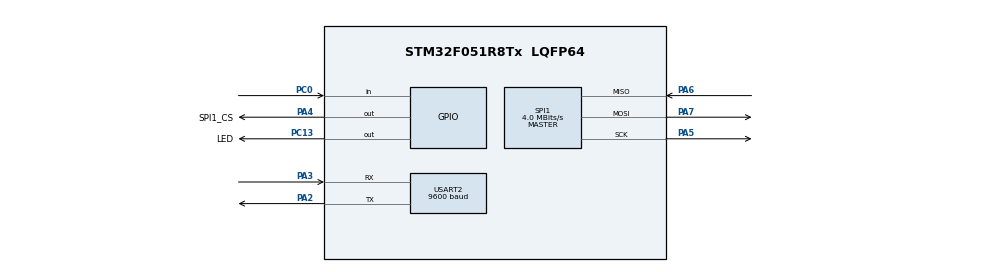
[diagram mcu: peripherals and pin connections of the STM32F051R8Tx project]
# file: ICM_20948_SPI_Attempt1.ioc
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Mcu.Family=STM32F0
Mcu.Name=STM32F051R8Tx
Mcu.Package=LQFP64
PA2.Mode=Asynchronous
PA2.Signal=USART2_TX
PA3.Mode=Asynchronous
PA3.Signal=USART2_RX
PA4.GPIO_Label=SPI1_CS
PA4.GPIO_Speed=GPIO_SPEED_FREQ_HIGH
PA4.PinState=GPIO_PIN_SET
PA4.Signal=GPIO_Output
PA5.Mode=Full_Duplex_Master
PA5.Signal=SPI1_SCK
PA6.GPIO_Mode=GPIO_MODE_AF_PP
PA6.Mode=Full_Duplex_Master
PA6.Signal=SPI1_MISO
PA7.Mode=Full_Duplex_Master
PA7.Signal=SPI1_MOSI
PC0.Signal=GPIO_Input
PC13.GPIO_Label=LED
PC13.PinState=GPIO_PIN_SET
PC13.Signal=GPIO_Output
ProjectManager.HeapSize=0x200
ProjectManager.StackSize=0x400
ProjectManager.TargetToolchain=STM32CubeIDE
SPI1.BaudRatePrescaler=SPI_BAUDRATEPRESCALER_2
SPI1.CLKPhase=SPI_PHASE_2EDGE
SPI1.CLKPolarity=SPI_POLARITY_HIGH
SPI1.CalculateBaudRate=4.0 MBits/s
SPI1.DataSize=SPI_DATASIZE_8BIT
SPI1.Direction=SPI_DIRECTION_2LINES
SPI1.Mode=SPI_MODE_MASTER
SPI1.VirtualType=VM_MASTER
USART2.BaudRate=9600
USART2.VirtualMode-Asynchronous=VM_ASYNC
board=custom

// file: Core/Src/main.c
/* USER CODE BEGIN Header */
/**
  ******************************************************************************
  * @file           : main.c
  * @brief          : Main program body
  ******************************************************************************
  * @attention
  *
  * <h2><center>&copy; Copyright (c) 2021 STMicroelectronics.
  * All rights reserved.</center></h2>
  *
  * This software component is licensed by ST under BSD 3-Clause license,
  * the "License"; You may not use this file except in compliance with the
  * License. You may obtain a copy of the License at:
  *                        opensource.org/licenses/BSD-3-Clause
  *
  ******************************************************************************
**/
/* USER CODE END Header */
#include "main.h"
#include "spi.h"
#include "usart.h"
#include "gpio.h"
#include "stdio.h"
#include "stdlib.h"

/* USER CODE BEGIN Includes */
#include "icm20948.h"

/* USER CODE END Includes */

/* USER CODE BEGIN PD */
#define EI 11  /* typically 10..13 */
#define EJ  4  /* typically 4..5 */
#define P   1  /* If match length <= P then output one character */
#define N (1 << EI)  /* buffer size */
#define F ((1 << EJ) + 1)  /* lookahead buffer size */

/* USER CODE END PD */

/* USER CODE BEGIN PV */
axises my_accel;
axises my_gyro;
axises my_temp;

//char bufferS[130];
char bufferL[130];
char compressed[130];

int bit_buffer = 0, bit_mask = 128;
unsigned long codecount = 0, textcount = 0;
unsigned char buffer[N * 2];

/* USER CODE END PV */

void SystemClock_Config(void);

/* USER CODE BEGIN PFP */
void putbit1(void);
void putbit0(void);
void flush_bit_buffer(void);
void output1(int c);
void output2(int x, int y);

void compression(void);
void encryption(void);

/* USER CODE END PFP */

int main(void)
{

	/* MCU Configuration--------------------------------------------------------*/

	/* Reset of all peripherals, Initialises the Flash interface and the Systick. */
	HAL_Init();

	/* Configure the system clock */
	SystemClock_Config();

	/* Initialise all configured peripherals */
	MX_GPIO_Init();
	MX_SPI1_Init();
	MX_USART2_UART_Init();

	/* USER CODE BEGIN 2 */
	icm20948_init();
	ak09916_init();

	/* USER CODE END 2 */

	/* Start of transmission */
	HAL_UART_Transmit(&huart2, "start\r\n", sizeof("start\r\n"), 130);

	/* Print out column formatting for sensor data */
	sprintf (bufferL, "Temperature (°C),Gyroscope (X),Gyroscope (Y),Gyroscope (Z),Accelerometer (X),Accelerometer (Y),Accelerometer (Z),");
	compression();
	encryption();
	HAL_UART_Transmit(&huart2, compressed, sizeof(compressed), 130);
	memset(bufferL, 0, 130);

	/* Infinite loop */
	while (1)
	{

	  /* USER CODE BEGIN 3 */
	  icm20948_gyro_read_dps(&my_gyro);
	  icm20948_accel_read_g(&my_accel);
	  icm20948_temp_read(&my_temp);

	  sprintf (bufferL, "%.06f,%.06f,%.06f,%.06f,%.06f,%.06f,%.06f,",my_temp.x - 8.0,my_gyro.x,my_gyro.y,my_gyro.z,my_accel.x,my_accel.y,my_accel.z);
	  compression();
	  encryption();
	  HAL_UART_Transmit(&huart2, compressed, sizeof(compressed), 130);
	  memset(bufferL, 0, 130);

	  HAL_Delay (1500);
  	}
}
void SystemClock_Config(void)
{
  RCC_OscInitTypeDef RCC_OscInitStruct = {0};
  RCC_ClkInitTypeDef RCC_ClkInitStruct = {0};

  /** Initializes the RCC Oscillators according to the specified parameters
  * in the RCC_OscInitTypeDef structure.
  */
  RCC_OscInitStruct.OscillatorType = RCC_OSCILLATORTYPE_HSI;
  RCC_OscInitStruct.HSIState = RCC_HSI_ON;
  RCC_OscInitStruct.HSICalibrationValue = RCC_HSICALIBRATION_DEFAULT;
  RCC_OscInitStruct.PLL.PLLState = RCC_PLL_NONE;
  if (HAL_RCC_OscConfig(&RCC_OscInitStruct) != HAL_OK)
  {
    Error_Handler();
  }

  /** Initializes the CPU, AHB and APB buses clocks
  */
  RCC_ClkInitStruct.ClockType = RCC_CLOCKTYPE_HCLK|RCC_CLOCKTYPE_SYSCLK
                              |RCC_CLOCKTYPE_PCLK1;
  RCC_ClkInitStruct.SYSCLKSource = RCC_SYSCLKSOURCE_HSI;
  RCC_ClkInitStruct.AHBCLKDivider = RCC_SYSCLK_DIV1;
  RCC_ClkInitStruct.APB1CLKDivider = RCC_HCLK_DIV1;

  if (HAL_RCC_ClockConfig(&RCC_ClkInitStruct, FLASH_LATENCY_0) != HAL_OK)
  {
    Error_Handler();
  }
}

/* USER CODE BEGIN 4 */

/* COMPRESSION */
void putbit1(void)
{
    bit_buffer |= bit_mask;
    if ((bit_mask >>= 1) == 0) {
        compressed[codecount] = bit_buffer;
        bit_buffer = 0;  bit_mask = 128;  codecount++;
    }
}

void putbit0(void)
{
    if ((bit_mask >>= 1) == 0) {
        compressed[codecount] = bit_buffer;
        bit_buffer = 0;  bit_mask = 128;  codecount++;
    }
}

void flush_bit_buffer(void)
{
    if (bit_mask != 128) {
        compressed[codecount] = bit_buffer;
        codecount++;
    }
}

void output1(int c)
{
    int mask;

    putbit1();
    mask = 256;
    while (mask >>= 1) {
        if (c & mask) putbit1();
        else putbit0();
    }
}

void output2(int x, int y)
{
    int mask;

    putbit0();
    mask = N;
    while (mask >>= 1) {
        if (x & mask) putbit1();
        else putbit0();
    }
    mask = (1 << EJ);
    while (mask >>= 1) {
        if (y & mask) putbit1();
        else putbit0();
    }
}

void compression(void) {
    int i, j, f1, x, y, r, s, bufferend, c;
    textcount = 0;
    for (i = 0; i < N - F; i++) buffer[i] = ' ';
    for (i = N - F; i < N * 2; i++) {
        if (textcount > sizeof(bufferL)-1) break;
        buffer[i] = bufferL[textcount++];
    }
    bufferend = i;  r = N - F;  s = 0;
    while (r < bufferend) {
        f1 = (F <= bufferend - r) ? F : bufferend - r;
        x = 0;  y = 1;  c = buffer[r];
        for (i = r - 1; i >= s; i--)
            if (buffer[i] == c) {
                for (j = 1; j < f1; j++)
                    if (buffer[i + j] != buffer[r + j]) break;
                if (j > y) {
                    x = i;  y = j;
                }
            }
        if (y <= P) {  y = 1;  output1(c);  }
        else output2(x & (N - 1), y - 2);
        r += y;  s += y;
        if (r >= N * 2 - F) {
            for (i = 0; i < N; i++) buffer[i] = buffer[i + N];
            bufferend -= N;  r -= N;  s -= N;
            while (bufferend < N * 2) {
                if (textcount > sizeof(bufferL)-1) break;
                buffer[bufferend++] = bufferL[textcount++];
            }
        }
    }

    flush_bit_buffer();

}

/* ENCRYPTION */
void encryption(void)
{
	for (int i = 0; i < 130; i++){
		bufferL[i] = bufferL[i]+57;
	}
}

/* USER CODE END 4 */

void Error_Handler(void)
{
  __disable_irq();
  while (1)
  {
  }
}
